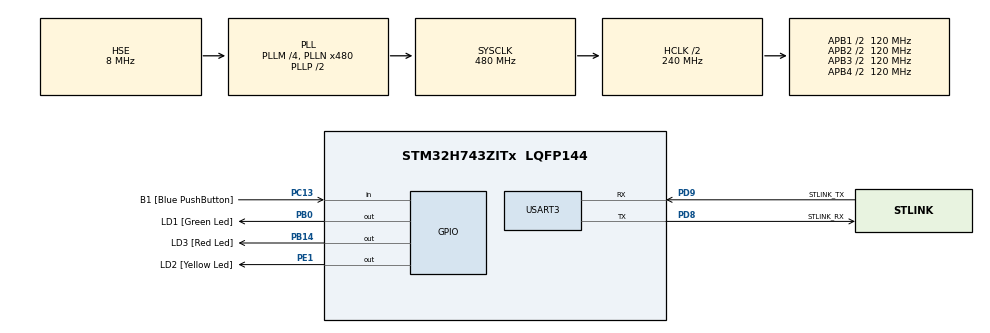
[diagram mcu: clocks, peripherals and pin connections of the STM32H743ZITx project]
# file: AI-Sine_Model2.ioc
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CORTEX_M7.CPU_DCache=Enabled
CORTEX_M7.CPU_ICache=Enabled
Mcu.Family=STM32H7
Mcu.Name=STM32H743ZITx
Mcu.Package=LQFP144
NVIC.PriorityGroup=NVIC_PRIORITYGROUP_4
PB0.GPIO_Label=LD1 [Green Led]
PB0.Signal=GPIO_Output
PB14.GPIO_Label=LD3 [Red Led]
PB14.Signal=GPIO_Output
PC13.GPIO_Label=B1 [Blue PushButton]
PC13.Signal=GPIO_Input
PC14-OSC32_IN\ (OSC32_IN).Mode=LSE-External-Oscillator
PC14-OSC32_IN\ (OSC32_IN).Signal=RCC_OSC32_IN
PC15-OSC32_OUT\ (OSC32_OUT).Mode=LSE-External-Oscillator
PC15-OSC32_OUT\ (OSC32_OUT).Signal=RCC_OSC32_OUT
PD8.GPIO_Label=STLINK_RX
PD8.Mode=Asynchronous
PD8.Signal=USART3_TX
PD9.GPIO_Label=STLINK_TX
PD9.Mode=Asynchronous
PD9.Signal=USART3_RX
PE1.GPIO_Label=LD2 [Yellow Led]
PE1.Signal=GPIO_Output
PH0-OSC_IN\ (PH0).Mode=HSE-External-Clock-Source
PH0-OSC_IN\ (PH0).Signal=RCC_OSC_IN
PH1-OSC_OUT\ (PH1).Signal=RCC_OSC_OUT
ProjectManager.HeapSize=0x2000
ProjectManager.StackSize=0x800
ProjectManager.TargetToolchain=STM32CubeIDE
RCC.ADCFreq_Value=16125000
RCC.APB1CLKDivider=RCC_HCLK_DIV4
RCC.APB1Freq_Value=120000000
RCC.APB2CLKDivider=RCC_HCLK_DIV2
RCC.APB2Freq_Value=120000000
RCC.APB3Freq_Value=120000000
RCC.APB4Freq_Value=120000000
RCC.CortexFreq_Value=480000000
RCC.D1PPRE=RCC_APB3_DIV2
RCC.D2PPRE1=RCC_APB1_DIV2
RCC.D2PPRE2=RCC_APB2_DIV2
RCC.D3PPRE=RCC_APB4_DIV2
RCC.DIVM1=4
RCC.DIVM3=4
RCC.DIVN1=480
RCC.DIVN3=480
RCC.DIVQ1=20
RCC.DIVQ3=8
RCC.FLatency=FLASH_LATENCY_4
RCC.HCLKFreq_Value=240000000
RCC.HPRE=RCC_HCLK_DIV2
RCC.HSE_VALUE=8000000
RCC.PLLFRACN=0
RCC.PLLM=25
RCC.PLLMUL=RCC_PLL_MUL9
RCC.PLLN=432
RCC.PLLQ=9
RCC.PLLSourceVirtual=RCC_PLLSOURCE_HSE
RCC.PRESCALERUSB=RCC_USBCLKSOURCE_PLL_DIV1_5
RCC.PWR_Regulator_Voltage_Scale=PWR_REGULATOR_VOLTAGE_SCALE0
RCC.ProductRev=revV
RCC.SYSCLKFreq_VALUE=480000000
RCC.SYSCLKSource=RCC_SYSCLKSOURCE_PLLCLK
RCC.SYSCLKSourceVirtual=RCC_SYSCLKSOURCE_PLLCLK
RCC.USBFreq_Value=48000000
STMicroelectronics.X-CUBE-AI.8.0.0.ActivationBufferSizeList=1940
STMicroelectronics.X-CUBE-AI.8.0.0.ActivationBuffers=pool0
STMicroelectronics.X-CUBE-AI.8.0.0.ActivationNames=pool0
STMicroelectronics.X-CUBE-AI.8.0.0.ActivationSizes=AI_SINE_MODEL_DATA_ACTIVATION_1_SIZE
STMicroelectronics.X-CUBE-AI.8.0.0.HeapSize=0x2000
STMicroelectronics.X-CUBE-AI.8.0.0.InternalRamActivationBufferMaxSize=AI_SINE_MODEL_DATA_ACTIVATIONS_SIZE
STMicroelectronics.X-CUBE-AI.8.0.0.LatestDirectoryUsed-3415f712f48b3850db1c305a91d124acd713c206cacd88d2696fb6ac07046eb4=C\:\\Users\\kpaul9\\Downloads
STMicroelectronics.X-CUBE-AI.8.0.0.MaximumNumberOfInputLayer=1
STMicroelectronics.X-CUBE-AI.8.0.0.MaximumNumberOfOutputLayer=1
STMicroelectronics.X-CUBE-AI.8.0.0.MaximumSizeOfInputLayer=1
STMicroelectronics.X-CUBE-AI.8.0.0.MaximumSizeOfOutputLayer=1
STMicroelectronics.X-CUBE-AI.8.0.0.ModelActualCompression-3415f712f48b3850db1c305a91d124acd713c206cacd88d2696fb6ac07046eb4=0.0
STMicroelectronics.X-CUBE-AI.8.0.0.ModelCompression-3415f712f48b3850db1c305a91d124acd713c206cacd88d2696fb6ac07046eb4=None
STMicroelectronics.X-CUBE-AI.8.0.0.ModelFlashOccupation-3415f712f48b3850db1c305a91d124acd713c206cacd88d2696fb6ac07046eb4=14212
STMicroelectronics.X-CUBE-AI.8.0.0.ModelHashList=3415f712f48b3850db1c305a91d124acd713c206cacd88d2696fb6ac07046eb4
STMicroelectronics.X-CUBE-AI.8.0.0.ModelKind-3415f712f48b3850db1c305a91d124acd713c206cacd88d2696fb6ac07046eb4=KERAS
STMicroelectronics.X-CUBE-AI.8.0.0.ModelMacc-3415f712f48b3850db1c305a91d124acd713c206cacd88d2696fb6ac07046eb4=353
STMicroelectronics.X-CUBE-AI.8.0.0.ModelName-3415f712f48b3850db1c305a91d124acd713c206cacd88d2696fb6ac07046eb4=sine_model
STMicroelectronics.X-CUBE-AI.8.0.0.ModelNameList=sine_model
STMicroelectronics.X-CUBE-AI.8.0.0.ModelRamOccupation-3415f712f48b3850db1c305a91d124acd713c206cacd88d2696fb6ac07046eb4=1940
STMicroelectronics.X-CUBE-AI.8.0.0.ModelStructureFile-3415f712f48b3850db1c305a91d124acd713c206cacd88d2696fb6ac07046eb4=C\:\\Users\\kpaul9\\Downloads\\sine_model2.h5
STMicroelectronics.X-CUBE-AI.8.0.0.ModelType-3415f712f48b3850db1c305a91d124acd713c206cacd88d2696fb6ac07046eb4=Saved model
STMicroelectronics.X-CUBE-AI.8.0.0.ReadyForCodeGeneration=true
STMicroelectronics.X-CUBE-AI.8.0.0.StackSize=0x800
STMicroelectronics.X-CUBE-AI.8.0.0.WorkingBufferStartAddrList=0xFFFFFFFF
STMicroelectronics.X-CUBE-AI.8.0.0.XAaCUBEAaAICcArtificialOoIntelligenceJjCore=true
STMicroelectronics.X-CUBE-AI.8.0.0.copyWeightToRam=false
STMicroelectronics.X-CUBE-AI.8.0.0.copyWeightToRam-3415f712f48b3850db1c305a91d124acd713c206cacd88d2696fb6ac07046eb4=false
STMicroelectronics.X-CUBE-AI.8.0.0.customLayerConfigEnabled=false
STMicroelectronics.X-CUBE-AI.8.0.0.customLayerConfigEnabled-3415f712f48b3850db1c305a91d124acd713c206cacd88d2696fb6ac07046eb4=false
STMicroelectronics.X-CUBE-AI.8.0.0.useInputAllocation=true
STMicroelectronics.X-CUBE-AI.8.0.0.useInputAllocation-3415f712f48b3850db1c305a91d124acd713c206cacd88d2696fb6ac07046eb4=true
STMicroelectronics.X-CUBE-AI.8.0.0.useOutputAllocation=true
STMicroelectronics.X-CUBE-AI.8.0.0.useOutputAllocation-3415f712f48b3850db1c305a91d124acd713c206cacd88d2696fb6ac07046eb4=true
TIM1.Period=0
TIM1.Prescaler=240-1
TIM16.Period=1
TIM16.Prescaler=240-1
USART3.VirtualMode-Asynchronous=VM_ASYNC
VP_CRC_VS_CRC.Mode=CRC_Activate
VP_STMicroelectronics.X-CUBE-AI_VS_ArtificialOoIntelligenceJjXAaCUBEAaAI_8.0.0.Mode=ArtificialOoIntelligenceJjXAaCUBEAaAI
VP_TIM16_VS_ClockSourceINT.Mode=Enable_Timer
VP_TIM1_VS_ClockSourceINT.Mode=Internal
board=NUCLEO-H743ZI2

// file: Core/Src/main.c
/* USER CODE BEGIN Header */
/**
  ******************************************************************************
  * @file           : main.c
  * @brief          : Main program body
  ******************************************************************************
  * @attention
  *
  * Copyright (c) 2023 STMicroelectronics.
  * All rights reserved.
  *
  * This software is licensed under terms that can be found in the LICENSE file
  * in the root directory of this software component.
  * If no LICENSE file comes with this software, it is provided AS-IS.
  *
  ******************************************************************************
  */
/* USER CODE END Header */
#include "main.h"

/* USER CODE BEGIN Includes */
#include <stdint.h>
#include <stdlib.h>
#include <stdio.h>
#include <inttypes.h>
#include <string.h>

//#include "app_x-cube-ai.h"
#include "main.h"
#include "ai_datatypes_defines.h"
#include "ai_platform.h"
#include "sine_model.h"
#include "sine_model_data.h"

/* USER CODE END Includes */

CRC_HandleTypeDef hcrc;

TIM_HandleTypeDef htim1;
TIM_HandleTypeDef htim16;

UART_HandleTypeDef huart3;

void SystemClock_Config(void);
static void MX_GPIO_Init(void);
static void MX_USART3_UART_Init(void);
static void MX_CRC_Init(void);
static void MX_TIM16_Init(void);
static void MX_TIM1_Init(void);

int main(void)
{
  /* USER CODE BEGIN 1 */
	char buf[100];
	int buf_len = 0;
	ai_error ai_err;
	ai_i32 batch;
	uint32_t timestamp1;
	uint32_t timestamp;
	float y_val;

	// Chunk of memory used to hold intermediate values for neural network
	AI_ALIGNED(4) ai_u8 activations[AI_SINE_MODEL_DATA_ACTIVATIONS_SIZE];

	// Buffers used to store input and output tensors
	AI_ALIGNED(4) ai_i8 in_data[AI_SINE_MODEL_IN_1_SIZE_BYTES];
	AI_ALIGNED(4) ai_i8 out_data[AI_SINE_MODEL_OUT_1_SIZE_BYTES];

	// Pointer to our model
	ai_handle sine_model = AI_HANDLE_NULL;

	// Initialize wrapper structs that hold pointers to data and info about the
	// data (tensor height, width, channels)
	ai_buffer ai_input[AI_SINE_MODEL_IN_NUM] = AI_SINE_MODEL_IN;
	ai_buffer ai_output[AI_SINE_MODEL_OUT_NUM] = AI_SINE_MODEL_OUT;

	// Set working memory and get weights/biases from model
	ai_network_params ai_params =
					AI_NETWORK_PARAMS_INIT(AI_SINE_MODEL_DATA_WEIGHTS(ai_sine_model_data_weights_get()), AI_SINE_MODEL_DATA_ACTIVATIONS(activations));

	// Set pointers wrapper structs to our data buffers
//	ai_input[0].n_batches = 1;
	ai_input[0].data = AI_HANDLE_PTR(in_data);
//	ai_output[0].n_batches = 1;
//	ai_i32 batch=1;

	ai_output[0].data = AI_HANDLE_PTR(out_data);
  /* USER CODE END 1 */

  /* Enable I-Cache---------------------------------------------------------*/
  SCB_EnableICache();

  /* Enable D-Cache---------------------------------------------------------*/
  SCB_EnableDCache();

  /* MCU Configuration--------------------------------------------------------*/

  /* Reset of all peripherals, Initializes the Flash interface and the Systick. */
  HAL_Init();

  /* Configure the system clock */
  SystemClock_Config();

  /* Initialize all configured peripherals */
  MX_GPIO_Init();
  MX_USART3_UART_Init();
  MX_CRC_Init();
  MX_TIM16_Init();
  MX_TIM1_Init();
  /* USER CODE BEGIN 2 */
	// Start timer/counter
  	HAL_TIM_Base_Init(&htim1);
	HAL_TIM_Base_Start(&htim16);

	// Greetings!
	buf_len = sprintf(buf, "\r\n\r\nSTM32 X-Cube-AI test KCPAUL\r\n");
	HAL_UART_Transmit(&huart3, (uint8_t*) buf, buf_len, 100);

	// Create instance of neural network
	ai_err = ai_sine_model_create(&sine_model, AI_SINE_MODEL_DATA_CONFIG);
	if (ai_err.type != AI_ERROR_NONE) {
		buf_len = sprintf(buf, "Error: could not create NN instance\r\n");
		HAL_UART_Transmit(&huart3, (uint8_t*) buf, buf_len, 100);
		while (1)
			;
	}

	// Initialize neural network
	if (!ai_sine_model_init(sine_model, &ai_params)) {
		buf_len = sprintf(buf, "Error: could not initialize NN\r\n");
		HAL_UART_Transmit(&huart3, (uint8_t*) buf, buf_len, 100);
		while (1)
			;
	}
  /* USER CODE END 2 */

  /* Infinite loop */
  /* USER CODE BEGIN WHILE */
	while (1) {
		// Fill input buffer (use test value)
		for (uint32_t i = 0; i < AI_SINE_MODEL_IN_1_SIZE; i++) {
			((ai_float*) in_data)[i] = (ai_float) 2.f;
		}

		// Get current timestamp
		timestamp1= htim1.Instance->CNT;
		timestamp = htim16.Instance->CNT;

		// For timing we will turn on green LED and then turn off after the inference
		HAL_GPIO_WritePin(GPIOB, GPIO_PIN_0, SET);  // Turn on Green LED before inference

		// Perform inference
		batch = ai_sine_model_run(sine_model, &ai_input[0], &ai_output[0]);
		if (batch != 1) {
			buf_len = sprintf(buf, "Error: could not run inference\r\n");
			HAL_UART_Transmit(&huart3, (uint8_t*) buf, buf_len, 100);
		}

		// Read output (predicted y) of neural network
		y_val = ((float*) out_data)[0];

		HAL_GPIO_WritePin(GPIOB, GPIO_PIN_0, RESET);  // Turn off Green LED after inference

		// Print output of neural network along with inference time (microseconds)
		buf_len = sprintf(buf, "Prediction: %f | Duration1: %lu |Duration16: %lu\r\n", y_val,
				htim1.Instance->CNT - timestamp1, htim16.Instance->CNT-timestamp);
		HAL_UART_Transmit(&huart3, (uint8_t*) buf, buf_len, 100);

		// Wait before doing it again
		HAL_GPIO_TogglePin(GPIOB, GPIO_PIN_0);
		HAL_Delay(500);  // To read timing using oscilloscope set this delay as low as 0.2 ms. Inference time is only 10us using this board.

    /* USER CODE END WHILE */

	}
}

void SystemClock_Config(void)
{
  RCC_OscInitTypeDef RCC_OscInitStruct = {0};
  RCC_ClkInitTypeDef RCC_ClkInitStruct = {0};

  /** Supply configuration update enable
  */
  HAL_PWREx_ConfigSupply(PWR_LDO_SUPPLY);

  /** Configure the main internal regulator output voltage
  */
  __HAL_PWR_VOLTAGESCALING_CONFIG(PWR_REGULATOR_VOLTAGE_SCALE1);

  while(!__HAL_PWR_GET_FLAG(PWR_FLAG_VOSRDY)) {}

  __HAL_RCC_SYSCFG_CLK_ENABLE();
  __HAL_PWR_VOLTAGESCALING_CONFIG(PWR_REGULATOR_VOLTAGE_SCALE0);

  while(!__HAL_PWR_GET_FLAG(PWR_FLAG_VOSRDY)) {}

  /** Initializes the RCC Oscillators according to the specified parameters
  * in the RCC_OscInitTypeDef structure.
  */
  RCC_OscInitStruct.OscillatorType = RCC_OSCILLATORTYPE_HSE;
  RCC_OscInitStruct.HSEState = RCC_HSE_BYPASS;
  RCC_OscInitStruct.PLL.PLLState = RCC_PLL_ON;
  RCC_OscInitStruct.PLL.PLLSource = RCC_PLLSOURCE_HSE;
  RCC_OscInitStruct.PLL.PLLM = 4;
  RCC_OscInitStruct.PLL.PLLN = 480;
  RCC_OscInitStruct.PLL.PLLP = 2;
  RCC_OscInitStruct.PLL.PLLQ = 20;
  RCC_OscInitStruct.PLL.PLLR = 2;
  RCC_OscInitStruct.PLL.PLLRGE = RCC_PLL1VCIRANGE_1;
  RCC_OscInitStruct.PLL.PLLVCOSEL = RCC_PLL1VCOWIDE;
  RCC_OscInitStruct.PLL.PLLFRACN = 0;
  if (HAL_RCC_OscConfig(&RCC_OscInitStruct) != HAL_OK)
  {
    Error_Handler();
  }

  /** Initializes the CPU, AHB and APB buses clocks
  */
  RCC_ClkInitStruct.ClockType = RCC_CLOCKTYPE_HCLK|RCC_CLOCKTYPE_SYSCLK
                              |RCC_CLOCKTYPE_PCLK1|RCC_CLOCKTYPE_PCLK2
                              |RCC_CLOCKTYPE_D3PCLK1|RCC_CLOCKTYPE_D1PCLK1;
  RCC_ClkInitStruct.SYSCLKSource = RCC_SYSCLKSOURCE_PLLCLK;
  RCC_ClkInitStruct.SYSCLKDivider = RCC_SYSCLK_DIV1;
  RCC_ClkInitStruct.AHBCLKDivider = RCC_HCLK_DIV2;
  RCC_ClkInitStruct.APB3CLKDivider = RCC_APB3_DIV2;
  RCC_ClkInitStruct.APB1CLKDivider = RCC_APB1_DIV2;
  RCC_ClkInitStruct.APB2CLKDivider = RCC_APB2_DIV2;
  RCC_ClkInitStruct.APB4CLKDivider = RCC_APB4_DIV2;

  if (HAL_RCC_ClockConfig(&RCC_ClkInitStruct, FLASH_LATENCY_4) != HAL_OK)
  {
    Error_Handler();
  }
}

static void MX_CRC_Init(void)
{

  hcrc.Instance = CRC;
  hcrc.Init.DefaultPolynomialUse = DEFAULT_POLYNOMIAL_ENABLE;
  hcrc.Init.DefaultInitValueUse = DEFAULT_INIT_VALUE_ENABLE;
  hcrc.Init.InputDataInversionMode = CRC_INPUTDATA_INVERSION_NONE;
  hcrc.Init.OutputDataInversionMode = CRC_OUTPUTDATA_INVERSION_DISABLE;
  hcrc.InputDataFormat = CRC_INPUTDATA_FORMAT_BYTES;
  if (HAL_CRC_Init(&hcrc) != HAL_OK)
  {
    Error_Handler();
  }

}

static void MX_TIM1_Init(void)
{

  TIM_ClockConfigTypeDef sClockSourceConfig = {0};
  TIM_MasterConfigTypeDef sMasterConfig = {0};

  htim1.Instance = TIM1;
  htim1.Init.Prescaler = 240-1;
  htim1.Init.CounterMode = TIM_COUNTERMODE_UP;
  htim1.Init.Period = 0;
  htim1.Init.ClockDivision = TIM_CLOCKDIVISION_DIV1;
  htim1.Init.RepetitionCounter = 0;
  htim1.Init.AutoReloadPreload = TIM_AUTORELOAD_PRELOAD_DISABLE;
  if (HAL_TIM_Base_Init(&htim1) != HAL_OK)
  {
    Error_Handler();
  }
  sClockSourceConfig.ClockSource = TIM_CLOCKSOURCE_INTERNAL;
  if (HAL_TIM_ConfigClockSource(&htim1, &sClockSourceConfig) != HAL_OK)
  {
    Error_Handler();
  }
  sMasterConfig.MasterOutputTrigger = TIM_TRGO_RESET;
  sMasterConfig.MasterOutputTrigger2 = TIM_TRGO2_RESET;
  sMasterConfig.MasterSlaveMode = TIM_MASTERSLAVEMODE_DISABLE;
  if (HAL_TIMEx_MasterConfigSynchronization(&htim1, &sMasterConfig) != HAL_OK)
  {
    Error_Handler();
  }

}

static void MX_TIM16_Init(void)
{

  htim16.Instance = TIM16;
  htim16.Init.Prescaler = 240-1;
  htim16.Init.CounterMode = TIM_COUNTERMODE_UP;
  htim16.Init.Period = 1;
  htim16.Init.ClockDivision = TIM_CLOCKDIVISION_DIV1;
  htim16.Init.RepetitionCounter = 0;
  htim16.Init.AutoReloadPreload = TIM_AUTORELOAD_PRELOAD_DISABLE;
  if (HAL_TIM_Base_Init(&htim16) != HAL_OK)
  {
    Error_Handler();
  }

}

static void MX_USART3_UART_Init(void)
{

  huart3.Instance = USART3;
  huart3.Init.BaudRate = 115200;
  huart3.Init.WordLength = UART_WORDLENGTH_8B;
  huart3.Init.StopBits = UART_STOPBITS_1;
  huart3.Init.Parity = UART_PARITY_NONE;
  huart3.Init.Mode = UART_MODE_TX_RX;
  huart3.Init.HwFlowCtl = UART_HWCONTROL_NONE;
  huart3.Init.OverSampling = UART_OVERSAMPLING_16;
  huart3.Init.OneBitSampling = UART_ONE_BIT_SAMPLE_DISABLE;
  huart3.Init.ClockPrescaler = UART_PRESCALER_DIV1;
  huart3.AdvancedInit.AdvFeatureInit = UART_ADVFEATURE_NO_INIT;
  if (HAL_UART_Init(&huart3) != HAL_OK)
  {
    Error_Handler();
  }
  if (HAL_UARTEx_SetTxFifoThreshold(&huart3, UART_TXFIFO_THRESHOLD_1_8) != HAL_OK)
  {
    Error_Handler();
  }
  if (HAL_UARTEx_SetRxFifoThreshold(&huart3, UART_RXFIFO_THRESHOLD_1_8) != HAL_OK)
  {
    Error_Handler();
  }
  if (HAL_UARTEx_DisableFifoMode(&huart3) != HAL_OK)
  {
    Error_Handler();
  }

}

static void MX_GPIO_Init(void)
{
  GPIO_InitTypeDef GPIO_InitStruct = {0};

  /* GPIO Ports Clock Enable */
  __HAL_RCC_GPIOC_CLK_ENABLE();
  __HAL_RCC_GPIOH_CLK_ENABLE();
  __HAL_RCC_GPIOB_CLK_ENABLE();
  __HAL_RCC_GPIOD_CLK_ENABLE();
  __HAL_RCC_GPIOE_CLK_ENABLE();

  /*Configure GPIO pin Output Level */
  HAL_GPIO_WritePin(GPIOB, LD1_Pin|LD3_Pin, GPIO_PIN_RESET);

  /*Configure GPIO pin Output Level */
  HAL_GPIO_WritePin(LD2_GPIO_Port, LD2_Pin, GPIO_PIN_RESET);

  /*Configure GPIO pin : B1_Pin */
  GPIO_InitStruct.Pin = B1_Pin;
  GPIO_InitStruct.Mode = GPIO_MODE_INPUT;
  GPIO_InitStruct.Pull = GPIO_NOPULL;
  HAL_GPIO_Init(B1_GPIO_Port, &GPIO_InitStruct);

  /*Configure GPIO pins : LD1_Pin LD3_Pin */
  GPIO_InitStruct.Pin = LD1_Pin|LD3_Pin;
  GPIO_InitStruct.Mode = GPIO_MODE_OUTPUT_PP;
  GPIO_InitStruct.Pull = GPIO_NOPULL;
  GPIO_InitStruct.Speed = GPIO_SPEED_FREQ_LOW;
  HAL_GPIO_Init(GPIOB, &GPIO_InitStruct);

  /*Configure GPIO pin : LD2_Pin */
  GPIO_InitStruct.Pin = LD2_Pin;
  GPIO_InitStruct.Mode = GPIO_MODE_OUTPUT_PP;
  GPIO_InitStruct.Pull = GPIO_NOPULL;
  GPIO_InitStruct.Speed = GPIO_SPEED_FREQ_LOW;
  HAL_GPIO_Init(LD2_GPIO_Port, &GPIO_InitStruct);

}

void Error_Handler(void)
{
  __disable_irq();
  while (1)
  {
  }
}
